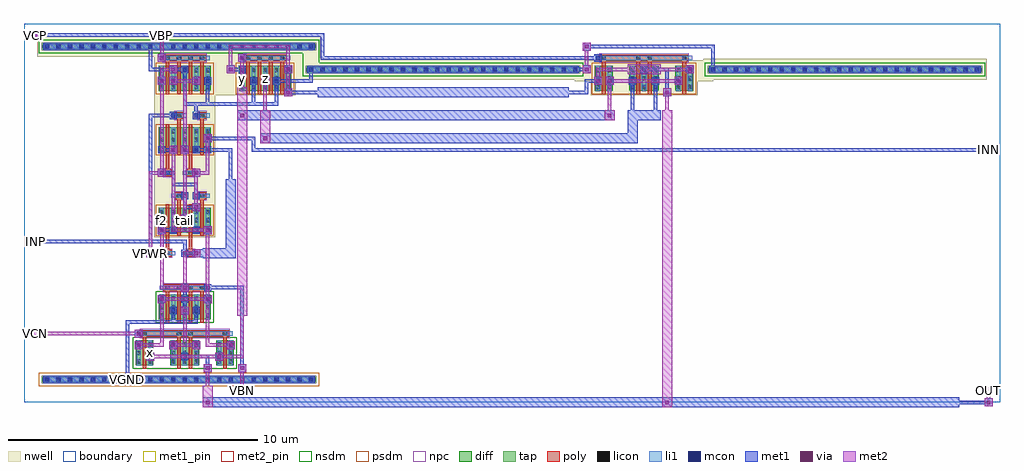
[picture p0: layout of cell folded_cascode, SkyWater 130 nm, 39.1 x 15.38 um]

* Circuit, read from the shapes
.subckt folded_cascode INN INP OUT VBN VBP VCN VCP VGND VPWR f1 f2 tail x y z
XM1 x VCN f1 VGND sky130_fd_pr__nfet_01v8 w=1 l=0.15 m=2
XM2 VGND VBN f1 VGND sky130_fd_pr__nfet_01v8 w=1 l=0.15 m=2
XM3 OUT VCN f2 VGND sky130_fd_pr__nfet_01v8 w=1 l=0.15 m=2
XM4 f2 VBN VGND VGND sky130_fd_pr__nfet_01v8 w=1 l=0.15 m=2
XM5 f2 VPWR f2 VPWR sky130_fd_pr__pfet_01v8 w=1 l=0.15 m=2
XM6 f1 VPWR f1 VPWR sky130_fd_pr__pfet_01v8 w=1 l=0.15 m=2
XM7 tail VBP VPWR VPWR sky130_fd_pr__pfet_01v8 w=1 l=0.15 m=4
XM8 tail INN f2 VPWR sky130_fd_pr__pfet_01v8 w=1 l=0.15 m=2
XM9 tail INP f1 VPWR sky130_fd_pr__pfet_01v8 w=1 l=0.15 m=2
XM10 VPWR x y VPWR sky130_fd_pr__pfet_01v8 w=1 l=0.15 m=2
XM11 z x VPWR VPWR sky130_fd_pr__pfet_01v8 w=1 l=0.15 m=2
XM12 x VCP y VPWR sky130_fd_pr__pfet_01v8 w=1 l=0.15 m=2
XM13 OUT VCP z VPWR sky130_fd_pr__pfet_01v8 w=1 l=0.15 m=2
.ends

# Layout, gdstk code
import gdstk
lib = gdstk.Library(unit=1e-6, precision=1e-09)
def R(c, l, rs):  # rectangles x0, y0, x1, y1
    for r in rs: c.add(gdstk.rectangle(r[:2], r[2:], *l))
def A(c, l, x, y, w, h, nx, ny, dx, dy):  # array of equal rectangles
    R(c, l, [(x+i*dx, y+j*dy, x+i*dx+w, y+j*dy+h) for i in range(nx) for j in range(ny)])
nwell = (64, 20)
diff = (65, 20)
tap = (65, 44)
poly = (66, 20)
licon = (66, 44)
li1 = (67, 20)
mcon = (67, 44)
met1_pin = (68, 16)
met1 = (68, 20)
via = (68, 44)
met2_pin = (69, 16)
met2 = (69, 20)
nsdm = (93, 44)
psdm = (94, 20)
npc = (95, 20)
boundary = (235, 4)

folded_cascode = lib.new_cell('folded_cascode')
R(folded_cascode, nwell, [(5.215,6.625,7.665,12.3), (5.215,12.3,10.885,12.92), (22.695,12.3,26.985,12.87), (22.068,12.87,27.612,12.92), (5.215,12.92,38.565,13.66), (5.215,13.66,23.092,13.71), (26.588,13.66,38.565,13.71), (5.215,13.71,22.465,13.76), (27.215,13.71,38.565,13.76), (5.215,13.76,11.885,13.84), (0.535,13.84,11.885,14.68)])
R(folded_cascode, diff, [(4.475,1.485,5.185,2.485), (5.855,1.485,7.025,2.485), (7.695,1.485,8.405,2.485), (5.395,3.325,7.485,4.325), (5.395,6.805,7.485,7.805), (5.395,10.025,7.485,11.025), (5.395,12.48,7.485,13.48), (8.615,12.48,10.705,13.48), (22.875,12.48,23.585,13.48), (24.255,12.48,25.425,13.48), (26.095,12.48,26.805,13.48)])
R(folded_cascode, tap, [(0.715,0.775,11.705,1.065), (11.295,13.195,22.285,13.485), (27.395,13.195,38.385,13.485), (0.715,14.115,11.705,14.405)])
A(folded_cascode, poly, 5.675, 3.195, 0.15, 1.405, 4, 1, 0.46, 0)
A(folded_cascode, poly, 5.675, 12.35, 0.15, 1.45, 4, 1, 0.46, 0)
A(folded_cascode, poly, 8.895, 12.35, 0.15, 1.45, 4, 1, 0.46, 0)
R(folded_cascode, poly, [(4.755,1.355,4.905,2.76), (6.135,1.355,6.285,2.76), (6.595,1.355,6.745,2.76), (7.975,1.355,8.125,2.76), (4.665,2.625,8.215,2.895), (5.585,4.465,7.295,4.735), (5.585,5.845,5.915,6.115), (6.505,5.845,6.835,6.115), (5.675,5.98,5.825,7.935), (6.595,5.98,6.745,7.935), (6.135,6.675,6.285,8.28), (7.055,6.675,7.205,8.28), (6.045,8.145,6.375,8.415), (6.965,8.145,7.295,8.415), (5.585,9.065,5.915,9.335), (6.505,9.065,6.835,9.335), (5.675,9.2,5.825,11.155), (6.595,9.2,6.745,11.155), (6.135,9.895,6.285,11.5), (7.055,9.895,7.205,11.5), (6.045,11.365,6.375,11.635), (6.965,11.365,7.295,11.635), (23.155,12.35,23.305,13.8), (24.535,12.35,24.685,13.8), (24.995,12.35,25.145,13.8), (26.375,12.35,26.525,13.8), (5.585,13.665,7.295,13.935), (8.805,13.665,10.515,13.935), (23.065,13.665,26.615,13.935)])
A(folded_cascode, licon, 0.835, 0.835, 0.17, 0.17, 24, 2, 0.46, 13.34)
A(folded_cascode, licon, 4.515, 1.56, 0.17, 0.17, 1, 3, 0, 0.34)
A(folded_cascode, licon, 4.975, 1.56, 0.17, 0.17, 1, 3, 0, 0.34)
A(folded_cascode, licon, 5.895, 1.56, 0.17, 0.17, 3, 3, 0.46, 0.34)
A(folded_cascode, licon, 7.735, 1.56, 0.17, 0.17, 1, 3, 0, 0.34)
A(folded_cascode, licon, 8.195, 1.56, 0.17, 0.17, 1, 3, 0, 0.34)
A(folded_cascode, licon, 6.585, 2.675, 0.17, 0.17, 1, 3, 0, 3.22)
A(folded_cascode, licon, 5.435, 3.4, 0.17, 0.17, 5, 3, 0.46, 0.34)
A(folded_cascode, licon, 5.665, 4.515, 0.17, 0.17, 4, 2, 0.46, 9.2)
A(folded_cascode, licon, 5.435, 6.88, 0.17, 0.17, 5, 3, 0.46, 0.34)
A(folded_cascode, licon, 5.435, 10.1, 0.17, 0.17, 5, 3, 0.46, 0.34)
A(folded_cascode, licon, 5.435, 12.555, 0.17, 0.17, 5, 3, 0.46, 0.34)
A(folded_cascode, licon, 8.655, 12.555, 0.17, 0.17, 5, 3, 0.46, 0.34)
A(folded_cascode, licon, 22.915, 12.555, 0.17, 0.17, 1, 3, 0, 0.34)
A(folded_cascode, licon, 23.375, 12.555, 0.17, 0.17, 1, 3, 0, 0.34)
A(folded_cascode, licon, 24.295, 12.555, 0.17, 0.17, 3, 3, 0.46, 0.34)
A(folded_cascode, licon, 26.135, 12.555, 0.17, 0.17, 1, 3, 0, 0.34)
A(folded_cascode, licon, 26.595, 12.555, 0.17, 0.17, 1, 3, 0, 0.34)
A(folded_cascode, licon, 11.415, 13.255, 0.17, 0.17, 24, 1, 0.46, 0)
A(folded_cascode, licon, 27.515, 13.255, 0.17, 0.17, 24, 1, 0.46, 0)
A(folded_cascode, licon, 8.885, 13.715, 0.17, 0.17, 4, 1, 0.46, 0)
R(folded_cascode, licon, [(4.745,2.675,4.915,2.845), (6.125,2.675,6.295,2.845), (7.965,2.675,8.135,2.845), (5.665,5.895,5.835,6.065), (6.125,8.195,6.295,8.365), (7.045,8.195,7.215,8.365), (5.665,9.115,5.835,9.285), (6.125,11.415,6.295,11.585), (7.045,11.415,7.215,11.585), (23.145,13.715,23.315,13.885), (24.525,13.715,24.695,13.885), (24.985,13.715,25.155,13.885), (26.365,13.715,26.535,13.885)])
A(folded_cascode, li1, 5.895, 1.48, 0.17, 1.01, 3, 1, 0.46, 0)
A(folded_cascode, li1, 5.435, 3.32, 0.17, 1.01, 5, 2, 0.46, 3.48)
A(folded_cascode, li1, 5.435, 10.02, 0.17, 1.01, 5, 2, 0.46, 2.455)
A(folded_cascode, li1, 8.655, 12.475, 0.17, 1.01, 5, 1, 0.46, 0)
A(folded_cascode, li1, 24.295, 12.475, 0.17, 1.01, 3, 1, 0.46, 0)
R(folded_cascode, li1, [(0.755,0.835,11.665,1.005), (4.515,1.48,4.685,2.49), (4.975,1.48,5.145,2.49), (7.735,1.48,7.905,2.49), (8.195,1.48,8.365,2.49), (4.515,2.675,8.365,2.845), (5.435,4.515,7.445,4.685), (5.435,5.895,6.065,6.065), (6.355,5.895,6.985,6.065), (5.895,8.195,6.525,8.365), (6.815,8.195,7.445,8.365), (5.435,9.115,6.065,9.285), (6.355,9.115,6.985,9.285), (5.895,11.415,6.525,11.585), (6.815,11.415,7.445,11.585), (22.915,12.475,23.085,13.485), (23.375,12.475,23.545,13.485), (26.135,12.475,26.305,13.485), (26.595,12.475,26.765,13.485), (11.335,13.255,22.245,13.425), (27.435,13.255,38.345,13.425), (5.435,13.715,7.445,13.885), (8.655,13.715,10.665,13.885), (22.915,13.715,26.765,13.885), (0.755,14.175,11.665,14.345)])
A(folded_cascode, mcon, 0.835, 0.835, 0.17, 0.17, 24, 2, 0.46, 13.34)
A(folded_cascode, mcon, 4.975, 1.755, 0.17, 0.17, 3, 1, 1.38, 0)
A(folded_cascode, mcon, 5.435, 4.055, 0.17, 0.17, 3, 1, 0.92, 0)
A(folded_cascode, mcon, 5.435, 10.035, 0.17, 0.17, 5, 1, 0.46, 0)
A(folded_cascode, mcon, 9.115, 12.795, 0.17, 0.17, 3, 1, 0.46, 0)
A(folded_cascode, mcon, 23.375, 12.795, 0.17, 0.17, 4, 1, 0.92, 0)
A(folded_cascode, mcon, 11.415, 13.255, 0.17, 0.17, 24, 1, 0.46, 0)
A(folded_cascode, mcon, 27.515, 13.255, 0.17, 0.17, 24, 1, 0.46, 0)
R(folded_cascode, mcon, [(4.515,2.215,4.685,2.385), (5.895,2.215,6.065,2.385), (6.815,2.215,6.985,2.385), (8.195,2.215,8.365,2.385), (4.515,2.675,4.685,2.845), (5.895,3.595,6.065,3.765), (6.815,3.595,6.985,3.765), (7.275,4.515,7.445,4.685), (5.435,5.895,5.605,6.065), (6.355,5.895,6.525,6.065), (5.435,6.815,5.605,6.985), (5.895,6.815,6.065,6.985), (6.815,6.815,6.985,6.985), (7.275,6.815,7.445,6.985), (6.355,7.275,6.525,7.445), (6.355,8.195,6.525,8.365), (6.815,8.195,6.985,8.365), (5.435,9.115,5.605,9.285), (6.815,9.115,6.985,9.285), (5.895,11.415,6.065,11.585), (6.815,11.415,6.985,11.585), (5.435,12.795,5.605,12.965), (5.895,12.795,6.065,12.965), (6.815,12.795,6.985,12.965), (7.275,12.795,7.445,12.965), (22.915,12.795,23.085,12.965), (6.355,13.255,6.525,13.425), (8.655,13.255,8.825,13.425), (10.495,13.255,10.665,13.425), (24.755,13.255,24.925,13.425), (26.595,13.255,26.765,13.425), (5.435,13.715,5.605,13.885), (8.655,13.715,8.825,13.885), (22.915,13.715,23.085,13.885)])
R(folded_cascode, met1_pin, [(4.07,0.85,4.21,0.99), (4.9,5.82,5.22,6.14)])
A(folded_cascode, met1, 7.2, 1.22, 0.32, 0.32, 1, 3, 0, 2.76)
A(folded_cascode, met1, 4.915, 1.695, 0.29, 0.29, 3, 1, 1.38, 0)
A(folded_cascode, met1, 5.375, 3.995, 0.29, 0.29, 3, 1, 0.92, 0)
A(folded_cascode, met1, 6.37, 4.07, 0.14, 0.6, 1, 3, 0, 1.84)
A(folded_cascode, met1, 6.28, 4.44, 0.32, 0.32, 1, 3, 0, 2.76)
A(folded_cascode, met1, 5.375, 9.975, 0.29, 0.29, 5, 1, 0.46, 0)
A(folded_cascode, met1, 9.055, 12.735, 0.29, 0.29, 3, 1, 0.46, 0)
A(folded_cascode, met1, 23.315, 12.735, 0.29, 0.29, 4, 1, 0.92, 0)
A(folded_cascode, met1, 5.82, 13.18, 0.32, 0.32, 3, 1, 2.3, 0)
R(folded_cascode, met1, [(7.16,-0.2,37.46,0.2), (7.16,-0.2,7.56,0.2), (25.56,-0.2,25.96,0.2), (38.48,-0.16,38.8,0.16), (37.19,-0.07,38.71,0.07), (0.775,0.775,11.645,1.065), (4.07,0.85,4.21,0.99), (4.07,0.85,4.21,3.29), (8.58,1.22,8.9,1.54), (7.29,1.31,7.43,1.91), (8.67,1.31,8.81,4.67), (4.9,1.68,5.22,2), (7.66,1.68,7.98,2), (6.37,1.77,7.43,1.91), (4.44,2.14,4.76,2.46), (5.82,2.14,6.14,2.46), (6.74,2.14,7.06,2.46), (8.12,2.14,8.44,2.46), (4.455,2.155,4.745,2.445), (5.835,2.155,6.125,2.445), (6.755,2.155,7.045,2.445), (8.135,2.155,8.425,2.445), (4.44,2.6,4.76,2.92), (4.455,2.615,4.745,2.905), (4.07,3.15,6.05,3.29), (5.91,3.15,6.97,3.29), (5.91,3.15,6.05,3.75), (6.83,3.15,6.97,3.75), (6.28,3.52,6.6,3.84), (5.835,3.535,6.125,3.825), (6.755,3.535,7.045,3.825), (6.37,3.61,6.51,4.21), (5.36,3.98,5.68,4.3), (7.215,4.455,7.505,4.745), (7.29,4.53,8.81,4.67), (7.16,5.78,8.48,6.18), (8.08,5.78,8.48,8.94), (4.9,5.82,5.22,6.14), (6.74,5.82,7.06,6.14), (7.06,5.82,7.16,6.14), (5.375,5.835,5.665,6.125), (6.295,5.835,6.585,6.125), (4.99,5.91,5.59,6.05), (6.83,5.91,7.43,6.05), (0.3,6.28,0.62,6.6), (0.39,6.37,6.51,6.51), (4.99,6.37,5.13,11.57), (5.36,6.74,5.68,7.06), (5.375,6.755,5.665,7.045), (5.835,6.755,6.125,7.045), (6.755,6.755,7.045,7.045), (7.215,6.755,7.505,7.045), (5.45,6.83,6.05,6.97), (6.83,6.83,7.43,6.97), (6.295,7.215,6.585,7.505), (6.74,7.66,7.06,7.98), (6.37,7.75,6.97,7.89), (6.295,8.135,6.585,8.425), (6.755,8.135,7.045,8.425), (6.83,8.21,6.97,8.81), (5.91,8.67,6.97,8.81), (5.91,8.67,6.05,9.27), (8.21,8.67,8.35,10.19), (5.36,9.04,5.68,9.36), (6.74,9.04,7.06,9.36), (5.375,9.055,5.665,9.345), (6.755,9.055,7.045,9.345), (5.45,9.13,6.05,9.27), (5.82,9.96,6.14,10.28), (38.48,9.96,38.8,10.28), (5.45,10.05,6.05,10.19), (6.83,10.05,7.43,10.19), (7.29,10.05,8.35,10.19), (9.13,10.05,38.71,10.19), (9.13,10.05,9.27,10.65), (9.46,10.38,24.58,10.78), (9.46,10.38,9.86,10.78), (24.18,10.38,24.58,11.7), (7.2,10.42,7.52,10.74), (7.29,10.51,9.27,10.65), (8.54,11.3,23.66,11.7), (8.54,11.3,8.94,11.7), (23.26,11.3,23.66,11.7), (24.18,11.3,25.5,11.7), (5.835,11.355,6.125,11.645), (6.755,11.355,7.045,11.645), (4.99,11.43,6.05,11.57), (6.83,11.43,6.97,12.03), (24.31,11.43,24.45,12.95), (25.23,11.43,25.37,12.95), (6.37,11.89,6.97,12.03), (6.37,11.89,6.51,13.41), (6.83,11.89,7.43,12.03), (7.29,11.89,7.43,12.95), (7.29,11.89,9.27,12.03), (9.13,11.89,10.19,12.03), (9.13,11.89,9.27,12.95), (10.05,11.89,10.19,12.95), (11.76,12.22,21.82,12.62), (10.42,12.26,10.74,12.58), (25.6,12.26,25.92,12.58), (10.51,12.35,12.03,12.49), (21.55,12.35,22.61,12.49), (22.47,12.35,22.61,12.95), (25.69,12.35,25.83,13.41), (5.36,12.72,5.68,13.04), (5.82,12.72,6.14,13.04), (6.74,12.72,7.06,13.04), (9.5,12.72,9.82,13.04), (22.84,12.72,23.16,13.04), (23.3,12.72,23.62,13.04), (26.06,12.72,26.38,13.04), (5.375,12.735,5.665,13.025), (5.835,12.735,6.125,13.025), (6.755,12.735,7.045,13.025), (7.215,12.735,7.505,13.025), (22.855,12.735,23.145,13.025), (5.45,12.81,5.59,13.41), (10.05,12.81,11.57,12.95), (11.43,12.81,11.57,13.41), (22.47,12.81,23.07,12.95), (22.38,13.18,22.7,13.5), (26.52,13.18,26.84,13.5), (6.295,13.195,6.585,13.485), (8.595,13.195,8.885,13.485), (10.435,13.195,10.725,13.485), (11.355,13.195,22.225,13.485), (24.695,13.195,24.985,13.485), (26.535,13.195,26.825,13.485), (27.455,13.195,38.325,13.485), (4.99,13.27,5.59,13.41), (4.99,13.27,5.13,14.33), (5.91,13.27,6.51,13.41), (8.21,13.27,8.81,13.41), (11.43,13.27,22.61,13.41), (11.43,13.27,11.57,13.41), (24.77,13.27,25.83,13.41), (27.53,13.27,27.67,14.33), (27.53,13.27,27.67,13.41), (5.36,13.64,5.68,13.96), (8.58,13.64,8.9,13.96), (5.375,13.655,5.665,13.945), (8.595,13.655,8.885,13.945), (22.855,13.655,23.145,13.945), (11.89,13.73,23.07,13.87), (11.89,13.73,12.03,14.79), (22.38,14.1,22.7,14.42), (0.775,14.115,11.645,14.405), (4.99,14.19,5.13,14.33), (22.47,14.19,27.67,14.33), (0.3,14.56,0.62,14.88), (0.39,14.65,12.03,14.79)])
A(folded_cascode, via, 7.285, 1.305, 0.15, 0.15, 1, 3, 0, 2.76)
A(folded_cascode, via, 6.365, 4.525, 0.15, 0.15, 1, 3, 0, 2.76)
A(folded_cascode, via, 5.905, 13.265, 0.15, 0.15, 3, 1, 2.3, 0)
R(folded_cascode, via, [(7.285,-0.075,7.435,0.075), (25.685,-0.075,25.835,0.075), (38.565,-0.075,38.715,0.075), (8.665,1.305,8.815,1.455), (4.985,1.765,5.135,1.915), (7.745,1.765,7.895,1.915), (4.525,2.225,4.675,2.375), (5.905,2.225,6.055,2.375), (6.825,2.225,6.975,2.375), (8.205,2.225,8.355,2.375), (4.525,2.685,4.675,2.835), (6.365,3.605,6.515,3.755), (5.445,4.065,5.595,4.215), (4.985,5.905,5.135,6.055), (6.825,5.905,6.975,6.055), (0.385,6.365,0.535,6.515), (5.445,6.825,5.595,6.975), (6.825,7.745,6.975,7.895), (5.445,9.125,5.595,9.275), (6.825,9.125,6.975,9.275), (5.905,10.045,6.055,10.195), (38.565,10.045,38.715,10.195), (7.285,10.505,7.435,10.655), (9.585,10.505,9.735,10.655), (8.665,11.425,8.815,11.575), (23.385,11.425,23.535,11.575), (10.505,12.345,10.655,12.495), (25.685,12.345,25.835,12.495), (5.445,12.805,5.595,12.955), (5.905,12.805,6.055,12.955), (6.825,12.805,6.975,12.955), (9.585,12.805,9.735,12.955), (22.925,12.805,23.075,12.955), (23.385,12.805,23.535,12.955), (26.145,12.805,26.295,12.955), (22.465,13.265,22.615,13.415), (26.605,13.265,26.755,13.415), (5.445,13.725,5.595,13.875), (8.665,13.725,8.815,13.875), (22.465,14.185,22.615,14.335), (0.385,14.645,0.535,14.795)])
R(folded_cascode, met2_pin, [(8.59,0.31,8.89,0.61), (38.49,0.31,38.79,0.61), (0.31,2.61,0.61,2.91), (0.31,6.29,0.61,6.59), (38.49,9.97,38.79,10.27), (0.31,14.57,0.61,14.87), (5.37,14.57,5.67,14.87)])
A(folded_cascode, met2, 7.2, 1.22, 0.32, 0.32, 1, 3, 0, 2.76)
A(folded_cascode, met2, 6.28, 4.44, 0.32, 0.32, 1, 3, 0, 2.76)
A(folded_cascode, met2, 5.82, 13.18, 0.32, 0.32, 3, 1, 2.3, 0)
R(folded_cascode, met2, [(7.16,-0.2,7.56,0.2), (7.16,-0.2,7.56,0.66), (25.56,-0.2,25.96,11.7), (25.56,-0.2,25.96,0.2), (38.48,-0.16,38.8,0.16), (38.57,-0.07,38.71,0.53), (8.59,0.31,8.89,0.61), (38.49,0.31,38.79,0.61), (7.29,0.39,7.43,1.45), (8.67,0.39,8.81,1.45), (8.67,0.39,8.81,0.53), (38.57,0.39,38.71,0.53), (8.58,1.22,8.9,1.54), (4.9,1.68,5.22,2), (7.66,1.68,7.98,2), (4.99,1.77,7.89,1.91), (7.75,1.77,8.81,1.91), (8.67,1.77,8.81,3.75), (4.44,2.14,4.76,2.46), (5.82,2.14,6.14,2.46), (6.74,2.14,7.06,2.46), (8.12,2.14,8.44,2.46), (4.53,2.23,5.59,2.37), (5.45,2.23,5.59,4.21), (5.91,2.23,6.51,2.37), (6.37,2.23,6.51,3.75), (6.37,2.23,6.97,2.37), (7.29,2.23,8.35,2.37), (7.29,2.23,7.43,4.21), (4.44,2.6,4.76,2.92), (0.31,2.61,0.61,2.91), (0.39,2.69,0.53,2.83), (0.39,2.69,4.67,2.83), (8.54,3.48,8.94,12.62), (6.28,3.52,6.6,3.84), (5.36,3.98,5.68,4.3), (5.45,4.07,7.43,4.21), (7.29,4.07,7.43,6.97), (5.45,4.53,6.51,4.67), (5.45,4.53,5.59,6.97), (6.37,4.53,6.51,6.05), (4.9,5.82,5.22,6.14), (6.74,5.82,7.06,6.14), (4.99,5.91,5.13,9.27), (6.37,5.91,6.97,6.05), (0.3,6.28,0.62,6.6), (0.31,6.29,0.61,6.59), (0.39,6.37,0.53,6.51), (5.36,6.74,5.68,7.06), (5.91,6.83,6.05,10.19), (5.91,6.83,7.43,6.97), (6.37,7.29,6.51,10.19), (6.74,7.66,7.06,7.98), (6.83,7.75,6.97,9.27), (5.36,9.04,5.68,9.36), (6.74,9.04,7.06,9.36), (4.99,9.13,5.59,9.27), (5.45,9.13,5.59,12.95), (6.83,9.13,7.43,9.27), (7.29,9.13,7.43,10.65), (5.82,9.96,6.14,10.28), (38.48,9.96,38.8,10.28), (38.49,9.97,38.79,10.27), (6.37,10.05,6.51,12.95), (38.57,10.05,38.71,10.19), (9.46,10.38,9.86,10.78), (9.46,10.38,9.86,11.7), (7.2,10.42,7.52,10.74), (8.54,11.3,8.94,11.7), (23.26,11.3,23.66,11.7), (9.59,11.43,9.73,12.95), (23.39,11.43,23.53,12.95), (25.69,11.43,25.83,12.49), (10.42,12.26,10.74,12.58), (25.6,12.26,25.92,12.58), (8.67,12.35,8.81,13.87), (10.51,12.35,10.65,13.41), (5.36,12.72,5.68,13.04), (5.82,12.72,6.14,13.04), (6.74,12.72,7.06,13.04), (9.5,12.72,9.82,13.04), (22.84,12.72,23.16,13.04), (23.3,12.72,23.62,13.04), (26.06,12.72,26.38,13.04), (5.45,12.81,5.59,13.41), (5.91,12.81,6.51,12.95), (6.37,12.81,6.97,12.95), (22.93,12.81,23.07,13.41), (23.39,12.81,26.29,12.95), (24.18,13.14,25.5,13.54), (22.38,13.18,22.7,13.5), (26.52,13.18,26.84,13.5), (5.45,13.27,6.05,13.41), (8.21,13.27,8.35,14.33), (10.51,13.27,10.65,14.33), (22.47,13.27,22.61,14.33), (22.93,13.27,24.45,13.41), (25.23,13.27,26.75,13.41), (5.36,13.64,5.68,13.96), (8.58,13.64,8.9,13.96), (5.45,13.73,5.59,14.79), (22.38,14.1,22.7,14.42), (8.21,14.19,10.65,14.33), (0.3,14.56,0.62,14.88), (0.31,14.57,0.61,14.87), (5.37,14.57,5.67,14.87), (0.39,14.65,0.53,14.79), (5.45,14.65,5.59,14.79)])
R(folded_cascode, nsdm, [(4.35,1.36,8.53,2.61), (5.27,3.2,7.61,4.45), (11.17,13.07,22.41,13.61), (27.27,13.07,38.51,13.61), (11.17,13.61,11.83,13.99), (0.59,13.99,11.83,14.53)])
R(folded_cascode, psdm, [(0.59,0.65,11.83,1.19), (5.27,6.68,7.61,7.93), (5.27,9.9,7.61,11.15), (5.27,12.355,7.61,13.605), (8.49,12.355,10.83,13.605), (22.75,12.355,26.93,13.605)])
R(folded_cascode, npc, [(4.645,2.575,8.235,2.945), (5.565,4.415,7.315,4.785), (5.565,5.795,5.935,6.165), (6.485,5.795,6.855,6.165), (6.025,8.095,6.395,8.465), (6.945,8.095,7.315,8.465), (5.565,9.015,5.935,9.385), (6.485,9.015,6.855,9.385), (6.025,11.315,6.395,11.685), (6.945,11.315,7.315,11.685), (5.565,13.615,7.315,13.985), (8.785,13.615,10.535,13.985), (23.045,13.615,26.635,13.985)])
R(folded_cascode, boundary, [(0,0,39.1,15.18)])
folded_cascode.add(gdstk.Label('f2', (5.52,7.305), layer=67, texttype=5))
folded_cascode.add(gdstk.Label('tail', (6.44,7.305), layer=67, texttype=5))
folded_cascode.add(gdstk.Label('f1', (6.9,7.305), layer=67, texttype=5))
folded_cascode.add(gdstk.Label('x', (5.06,1.985), layer=67, texttype=5))
folded_cascode.add(gdstk.Label('y', (8.74,12.98), layer=67, texttype=5))
folded_cascode.add(gdstk.Label('z', (9.66,12.98), layer=67, texttype=5))
folded_cascode.add(gdstk.Label('VPWR', (5.06,5.98), layer=68, texttype=5))
folded_cascode.add(gdstk.Label('VGND', (4.14,0.92), layer=68, texttype=5))
folded_cascode.add(gdstk.Label('INP', (0.46,6.44), layer=69, texttype=5))
folded_cascode.add(gdstk.Label('INN', (38.64,10.12), layer=69, texttype=5))
folded_cascode.add(gdstk.Label('VBP', (5.52,14.72), layer=69, texttype=5))
folded_cascode.add(gdstk.Label('VBN', (8.74,0.46), layer=69, texttype=5))
folded_cascode.add(gdstk.Label('VCN', (0.46,2.76), layer=69, texttype=5))
folded_cascode.add(gdstk.Label('VCP', (0.46,14.72), layer=69, texttype=5))
folded_cascode.add(gdstk.Label('OUT', (38.64,0.46), layer=69, texttype=5))
folded_cascode.add(gdstk.Label('VPWR', (5.06,5.98), layer=68, texttype=16))
folded_cascode.add(gdstk.Label('VGND', (4.14,0.92), layer=68, texttype=16))
folded_cascode.add(gdstk.Label('INP', (0.46,6.44), layer=69, texttype=16))
folded_cascode.add(gdstk.Label('INN', (38.64,10.12), layer=69, texttype=16))
folded_cascode.add(gdstk.Label('VBP', (5.52,14.72), layer=69, texttype=16))
folded_cascode.add(gdstk.Label('VBN', (8.74,0.46), layer=69, texttype=16))
folded_cascode.add(gdstk.Label('VCN', (0.46,2.76), layer=69, texttype=16))
folded_cascode.add(gdstk.Label('VCP', (0.46,14.72), layer=69, texttype=16))
folded_cascode.add(gdstk.Label('OUT', (38.64,0.46), layer=69, texttype=16))

lib.write_gds('folded_cascode.gds')
